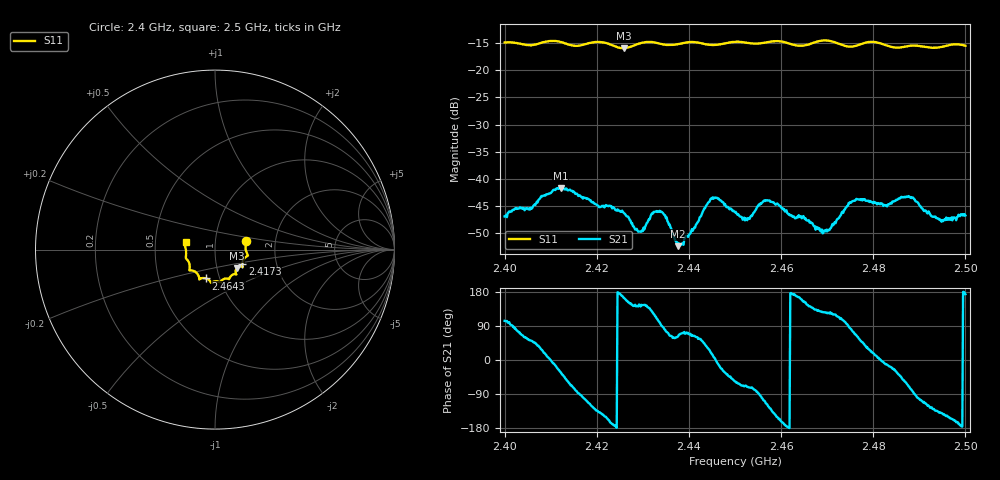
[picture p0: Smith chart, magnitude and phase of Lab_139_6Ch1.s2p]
# Hz S RI R 50
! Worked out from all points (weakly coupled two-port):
!   601 points, 2.4 GHz to 2.5 GHz, reference 50 ohm
!   highest |S21| = -41.70 dB at 2.4122 GHz (marker M1); lowest = -52.4 dB at 2.4377 GHz (marker M2)
!   lowest |S11| = -15.9 dB at 2.4258 GHz (marker M3), VSWR 1.38, Z = 62.2 - j13.3 ohm
!   |S11| at or under -10 dB: start of sweep to end of sweep
!   S12 and S22 are empty: the file has one direction only
!   S11 on the Smith chart (normalised r, x): 2.4 GHz: 1.41, +0.14; 2.4173 GHz: 1.34, -0.23; 2.4643 GHz: 0.86, -0.28; 2.5 GHz: 0.72, +0.06
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2.4e9  0.1734 0.0497  -0.00103 0.00437  0 0  0 0
2.412167e9  0.1788 -0.0369  0.00695 -0.00438  0 0  0 0
2.416667e9  0.153 -0.0747  -0.000448 -0.00676  0 0  0 0
2.417333e9  0.1524 -0.0821  -0.00143 -0.00651  0 0  0 0
2.425833e9  0.1213 -0.1038  -0.00468 0.00131  0 0  0 0
2.4295e9  0.1172 -0.134  -0.00253 0.00204  0 0  0 0
2.433333e9  0.1126 -0.1368  -0.00118 0.00483  0 0  0 0
2.434667e9  0.1041 -0.1375  0.000698 0.00458  0 0  0 0
2.437667e9  0.0841 -0.1528  0.00109 0.00212  0 0  0 0
2.440333e9  0.0794 -0.1639  0.00113 0.00292  0 0  0 0
2.445167e9  0.054 -0.1623  0.00658 0.00148  0 0  0 0
2.45e9  0.0295 -0.1808  0.00268 -0.0041  0 0  0 0
2.452667e9  0.0195 -0.1779  0.00134 -0.00393  0 0  0 0
2.457e9  -0.0135 -0.1811  -0.00291 -0.00563  0 0  0 0
2.464333e9  -0.0503 -0.1606  -0.00425 0.00149  0 0  0 0
2.466667e9  -0.0764 -0.1598  -0.00292 0.00261  0 0  0 0
2.470167e9  -0.0876 -0.166  -0.00193 0.00278  0 0  0 0
2.476667e9  -0.1232 -0.1173  0.00317 0.00563  0 0  0 0
2.483333e9  -0.141 -0.0894  0.00562 -0.00153  0 0  0 0
2.487667e9  -0.1591 -0.0524  0.00246 -0.00647  0 0  0 0
2.494667e9  -0.1634 0.00646  -0.00311 -0.00267  0 0  0 0
2.5e9  -0.1633 0.0418  -0.00456 0.000513  0 0  0 0
